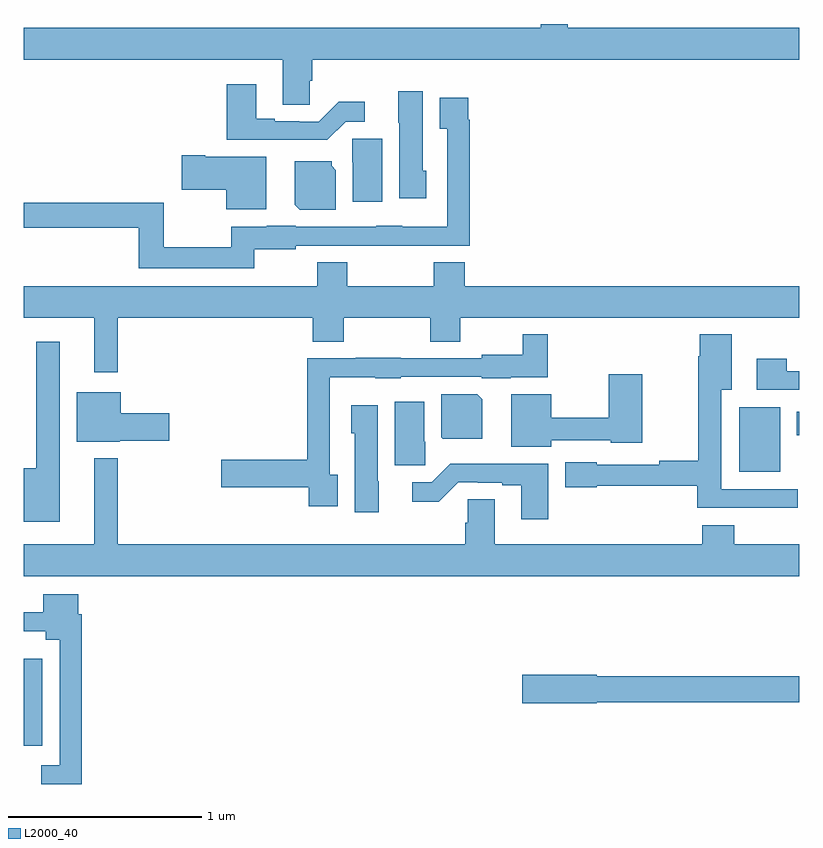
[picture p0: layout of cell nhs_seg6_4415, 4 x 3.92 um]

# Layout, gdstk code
import gdstk
lib = gdstk.Library(unit=1e-6, precision=1e-09)
def R(c, l, rs):  # rectangles x0, y0, x1, y1
    for r in rs: c.add(gdstk.rectangle(r[:2], r[2:], *l))
def P(c, l, *ps):  # polygons
    for p in ps: c.add(gdstk.Polygon(p, *l))
L2000_40 = (2000, 40)

nhs_seg6_4415 = lib.new_cell('nhs_seg6_4415')
R(nhs_seg6_4415, L2000_40, [(371,963.777,371.095,964.225), (374.69,965.189,374.902,965.524), (374.987,965.378,375,965.5)])
P(nhs_seg6_4415, L2000_40, [(372.474,967.206),(372.488,967.206),(372.488,967.316),(375,967.316),(375,967.48),(373.807,967.48),(373.807,967.5),(373.667,967.5),(373.667,967.48),(371,967.48),(371,967.316),(372.335,967.316),(372.335,967.084),(372.474,967.084)],
  [(372.66,966.996),(372.76,966.996),(372.76,967.099),(372.625,967.099),(372.522,966.996),(372.422,966.996),(372.422,966.999),(372.295,966.999),(372.295,967.012),(372.199,967.012),(372.199,967.189),(372.047,967.189),(372.047,966.902),(372.566,966.902)],
  [(373.075,966.744),(373.057,966.744),(373.057,967.153),(372.932,967.153),(372.932,966.99),(372.938,966.99),(372.938,966.6),(373.075,966.6)],
  [(372.19,966.338),(372.402,966.338),(372.402,966.357),(372.819,966.357),(372.819,966.356),(373.051,966.356),(373.051,966.357),(373.301,966.357),(373.301,967.007),(373.294,967.007),(373.294,967.12),(373.145,967.12),(373.145,966.959),(373.185,966.959),(373.185,966.454),(372.951,966.454),(372.951,966.46),(372.819,966.46),(372.819,966.453),(372.402,966.453),(372.402,966.46),(372.252,966.46),(372.252,966.454),(372.069,966.454),(372.069,966.349),(371.722,966.349),(371.722,966.578),(371,966.578),(371,966.45),(371.593,966.45),(371.593,966.24),(372.19,966.24)],
  [(372.85,966.909),(372.694,966.909),(372.694,966.786),(372.698,966.786),(372.698,966.582),(372.85,966.582)],
  [(372.25,966.814),(371.937,966.814),(371.937,966.824),(371.814,966.824),(371.814,966.646),(372.044,966.646),(372.044,966.545),(372.25,966.545)],
  [(372.61,966.746),(372.588,966.768),(372.588,966.793),(372.398,966.793),(372.398,966.568),(372.424,966.542),(372.61,966.542)],
  [(371.485,965.984),(372.491,965.984),(372.491,965.86),(372.651,965.86),(372.651,965.984),(373.096,965.984),(373.096,965.86),(373.251,965.86),(373.251,965.984),(375,965.984),(375,966.148),(373.274,966.148),(373.274,966.272),(373.114,966.272),(373.114,966.148),(372.669,966.148),(372.669,966.272),(372.514,966.272),(372.514,966.148),(371,966.148),(371,965.984),(371.363,965.984),(371.363,965.703),(371.485,965.703)],
  [(372.619,965.174),(372.579,965.174),(372.579,965.678),(372.813,965.678),(372.813,965.672),(372.945,965.672),(372.945,965.679),(373.362,965.679),(373.362,965.672),(373.512,965.672),(373.512,965.678),(373.703,965.678),(373.703,965.899),(373.575,965.899),(373.575,965.794),(373.362,965.794),(373.362,965.775),(372.945,965.775),(372.945,965.777),(372.713,965.777),(372.713,965.775),(372.463,965.775),(372.463,965.252),(372.018,965.252),(372.018,965.11),(372.471,965.11),(372.471,965.013),(372.619,965.013)],
  [(374.992,965.1),(374.599,965.1),(374.599,965.612),(374.653,965.612),(374.653,965.899),(374.486,965.899),(374.486,965.786),(374.479,965.786),(374.479,965.246),(374.278,965.246),(374.278,965.226),(373.956,965.226),(373.956,965.239),(373.794,965.239),(373.794,965.11),(373.956,965.11),(373.956,965.118),(374.474,965.118),(374.474,965.003),(374.992,965.003)],
  [(371.185,965.86),(371.064,965.86),(371.064,965.207),(371,965.207),(371,964.931),(371.185,964.931)],
  [(375,965.709),(374.937,965.709),(374.937,965.773),(374.781,965.773),(374.781,965.613),(375,965.613)],
  [(373.72,965.352),(374.028,965.352),(374.028,965.339),(374.19,965.339),(374.19,965.692),(374.017,965.692),(374.017,965.468),(373.72,965.468),(373.72,965.59),(373.514,965.59),(373.514,965.318),(373.72,965.318)],
  [(371.496,965.351),(371.749,965.351),(371.749,965.493),(371.5,965.493),(371.5,965.599),(371.273,965.599),(371.273,965.345),(371.496,965.345)],
  [(373.366,965.564),(373.34,965.59),(373.154,965.59),(373.154,965.368),(373.162,965.36),(373.366,965.36)],
  [(373.07,965.346),(373.066,965.346),(373.066,965.551),(372.914,965.551),(372.914,965.223),(373.07,965.223)],
  [(372.832,965.142),(372.826,965.142),(372.826,965.533),(372.689,965.533),(372.689,965.388),(372.707,965.388),(372.707,964.98),(372.832,964.98)],
  [(375,964.816),(374.666,964.816),(374.666,964.915),(374.501,964.915),(374.501,964.816),(373.429,964.816),(373.429,965.048),(373.29,965.048),(373.29,964.926),(373.277,964.926),(373.277,964.816),(371.485,964.816),(371.485,965.26),(371.363,965.26),(371.363,964.816),(371,964.816),(371,964.652),(375,964.652)],
  [(373.705,965.231),(373.199,965.231),(373.104,965.136),(373.005,965.136),(373.005,965.034),(373.14,965.034),(373.242,965.136),(373.342,965.136),(373.342,965.133),(373.469,965.133),(373.469,965.121),(373.565,965.121),(373.565,964.944),(373.705,964.944)],
  [(371.3,964.454),(371.281,964.454),(371.281,964.558),(371.099,964.558),(371.099,964.464),(371,964.464),(371,964.368),(371.114,964.368),(371.114,964.322),(371.184,964.322),(371.184,963.675),(371.091,963.675),(371.091,963.579),(371.3,963.579)],
  [(373.956,964),(375,964),(375,964.136),(373.956,964.136),(373.956,964.142),(373.572,964.142),(373.572,963.995),(373.956,963.995)])

lib.write_gds('nhs_seg6_4415.gds')
